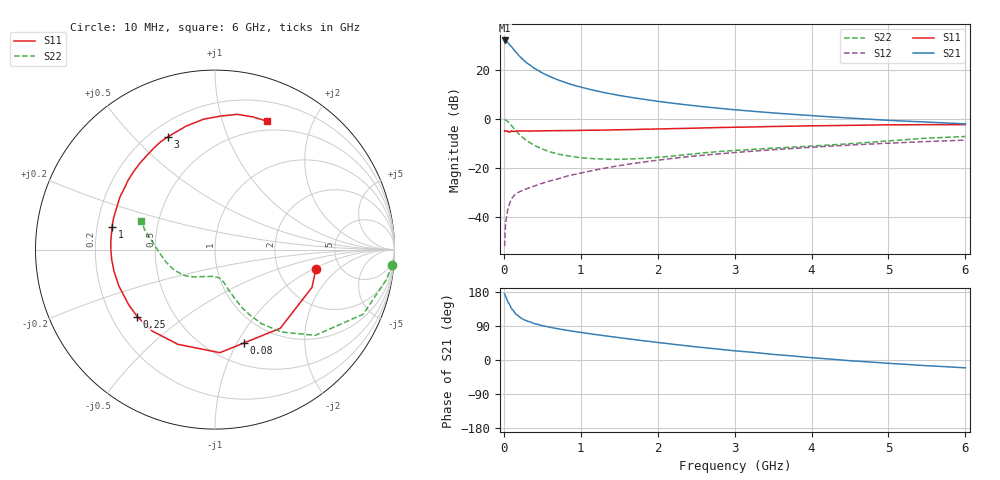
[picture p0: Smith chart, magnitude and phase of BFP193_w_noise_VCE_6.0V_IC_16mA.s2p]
! Infineon Technologies  Discrete & RF Semiconductors
! BFP193
! VCE =  6.0 V,  IC =  16 mA
! Common Emitter S-Parameters:  Jan 2017
# GHz  S  MA  R  50
!  f  S11  S21  S12  S22
! GHz  MAG  ANG  MAG  ANG  MAG  ANG  MAG  ANG
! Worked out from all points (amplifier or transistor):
!   77 points, 10 MHz to 6 GHz, reference 50 ohm
!   highest |S21| = 32.2 dB at 10 MHz (marker M1)
!   |S21| within 3 dB of that: start of sweep to 111 MHz
!   unconditionally stable (mu >= 1): 957 MHz to 2.525 GHz
!   at 130 MHz: K = 0.32, MSG = 30.0 dB, |S12| = -31.5 dB
!   at 2.2 GHz: K = 1.02, MAG = 10.4 dB, |S12| = -16.1 dB
!   at 6 GHz: K = 0.89, MSG = 3.3 dB, |S12| = -8.6 dB
!   lowest NFmin = 0.97 dB at 450 MHz
!   S11 on the Smith chart (normalised r, x): 10 MHz: 3.32, -1.05; 80 MHz: 0.72, -1.07; 250 MHz: 0.31, -0.34; 1 GHz: 0.26, +0.10; 3 GHz: 0.27, +0.63; 6 GHz: 0.40, +1.41
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0.01  0.5728 -10.7  40.75 174.4  0.0025 88.0  0.9919 -4.9
0.02  0.5798 -21.3  40.71 169.2  0.0062 87.1  0.969 -10.0
0.05  0.5696 -50.3  37.23 154.3  0.0138 70.0  0.9005 -23.6
0.08  0.5445 -72.7  32.64 143.9  0.0196 62.8  0.7927 -32.9
0.1  0.5749 -87.3  30.32 135.4  0.0235 60.0  0.7351 -40.5
0.15  0.5667 -111.4  24.13 122.7  0.0289 51.9  0.5903 -51.1
0.2  0.5729 -127.6  19.69 114.1  0.0323 49.2  0.4882 -57.8
0.25  0.5719 -139.2  16.46 107.5  0.0351 48.8  0.4135 -61.9
0.3  0.5706 -147.4  14.05 103.0  0.0376 47.7  0.3584 -64.9
0.4  0.5726 -159.2  10.87 95.8  0.0429 50.0  0.2866 -68.4
0.5  0.5755 -167.9  8.804 90.6  0.0486 51.5  0.2435 -70.9
0.6  0.5781 -174.4  7.415 86.2  0.0542 53.7  0.2137 -73.0
0.7  0.58 -179.5  6.383 82.6  0.0594 55.6  0.1928 -74.5
1  0.5875 167.4  4.52 72.8  0.0784 57.2  0.1615 -81.2
1.1  0.5907 163.9  4.122 69.9  0.0848 57.4  0.1577 -83.4
1.5  0.6056 150.7  3.052 59.0  0.1112 56.6  0.1499 -96.3
2.1  0.6326 133.4  2.211 44.0  0.1505 52.4  0.1698 -117.5
3  0.6811 112.7  1.553 24.3  0.2065 43.7  0.2285 -142.3
3.1  0.6846 110.8  1.507 22.6  0.2123 42.6  0.233 -144.7
4.1  0.7314 93.6  1.15 4.6  0.2706 32.3  0.2864 -168.2
5.1  0.7639 79.3  0.927 -10.0  0.326 21.2  0.3673 170.0
6  0.7714 67.9  0.799 -20.7  0.3712 11.2  0.44 158.6
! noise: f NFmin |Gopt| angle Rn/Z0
0.45  0.97  0.24  173  0.07
0.9  1.06  0.36  179  0.07
1.9  1.74  0.56  -142  0.14
2.4  2.05  0.62  -125  0.33
